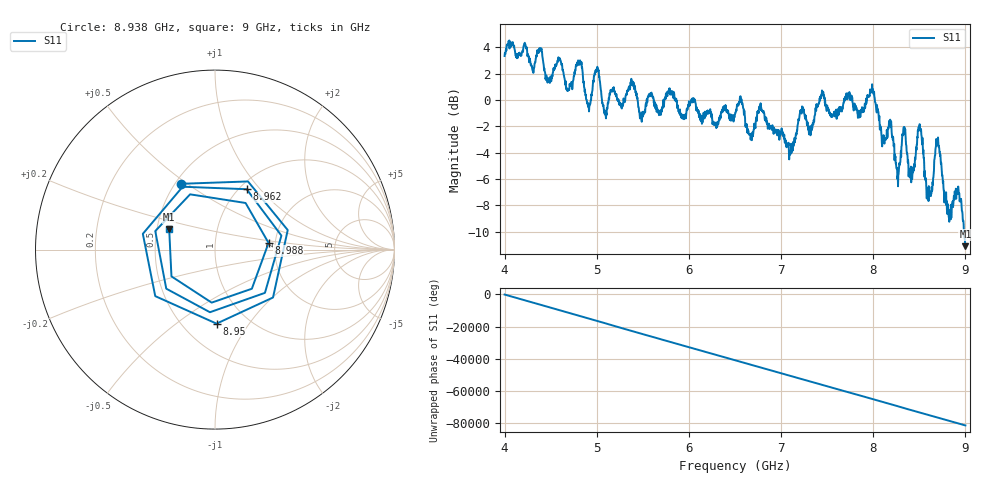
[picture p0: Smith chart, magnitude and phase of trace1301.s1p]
! Created with skrf 1.8.0 (http://scikit-rf.org).
# Hz S RI R 50.0
!freq ReS11 ImS11
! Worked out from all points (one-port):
!   1601 points, 4 GHz to 9 GHz, reference 50 ohm
!   lowest |S11| = -11.1 dB at 9 GHz (marker M1), VSWR 1.77, Z = 29 + j7.1 ohm
!   |S11| at or under -10 dB: 8.983357 GHz to end of sweep
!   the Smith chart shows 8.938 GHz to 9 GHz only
!   S11 on the Smith chart (normalised r, x): 8.938 GHz: 0.54, +0.47; 8.95 GHz: 0.72, -0.72; 8.962 GHz: 1.08, +0.85; 8.988 GHz: 1.84, +0.15; 9 GHz: 0.58, +0.14
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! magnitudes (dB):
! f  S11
! 4 GHz  3.3
! 4.625 GHz  2.6
! 4.909 GHz  -0.5
! 4.997 GHz  2.3
! 5.25 GHz  -0.2
! 5.875 GHz  -0.4
! 6.5 GHz  -1.1
! 7.125 GHz  -3.4
! 7.225 GHz  -0.8
! 7.316 GHz  -2.2
! 7.441 GHz  0.4
! 7.75 GHz  0.4
! 7.991 GHz  0.7
! 8.112 GHz  -2.7
! 8.194 GHz  -1.6
! 8.256 GHz  -5.2
! 8.331 GHz  -2.1
! 8.375 GHz  -4.7
! 8.425 GHz  -5.7
! 8.503 GHz  -1.8
! 8.6 GHz  -7.7
! 8.7 GHz  -3.4
! 8.822 GHz  -8.9
! 8.938 GHz  -7.7
! 8.95 GHz  -7.7
! 8.962 GHz  -8.4
! 8.988 GHz  -10.4
! 9 GHz  -11.1
